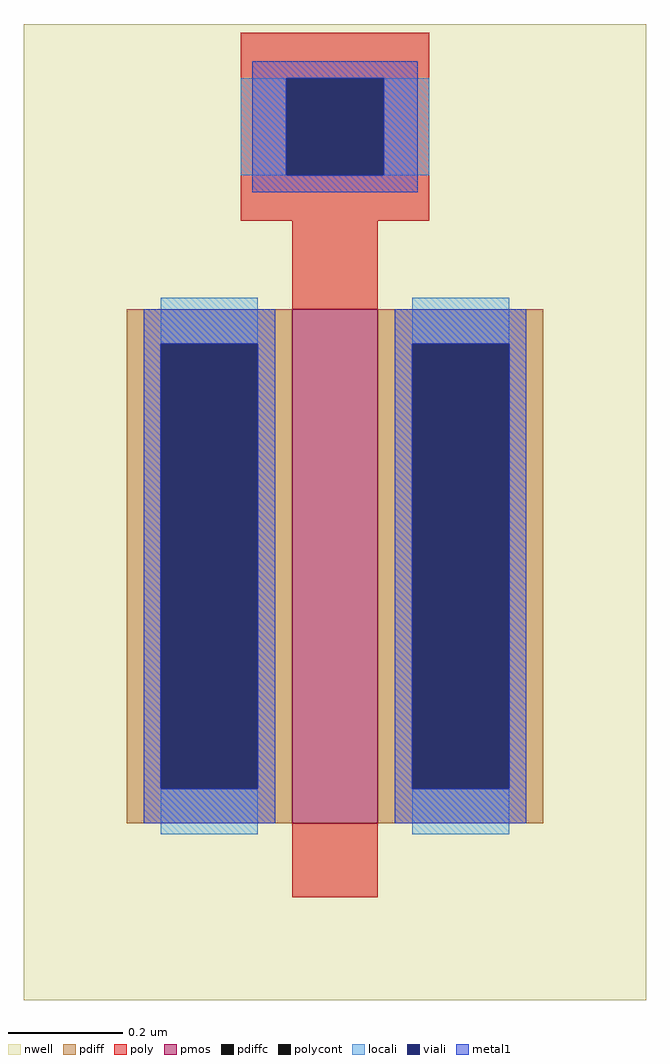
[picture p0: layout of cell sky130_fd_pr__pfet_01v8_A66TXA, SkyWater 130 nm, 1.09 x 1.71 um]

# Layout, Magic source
magic
tech sky130A
magscale 1 2
<< nwell >>
rect -109 -188 109 154
<< pmos >>
rect -15 -126 15 54
<< pdiff >>
rect -73 42 -15 54
rect -73 -114 -61 42
rect -27 -114 -15 42
rect -73 -126 -15 -114
rect 15 42 73 54
rect 15 -114 27 42
rect 61 -114 73 42
rect 15 -126 73 -114
<< pdiffc >>
rect -61 -114 -27 42
rect 27 -114 61 42
<< poly >>
rect -33 135 33 151
rect -33 101 -17 135
rect 17 101 33 135
rect -33 85 33 101
rect -15 54 15 85
rect -15 -152 15 -126
<< polycont >>
rect -17 101 17 135
<< locali >>
rect -33 101 -17 135
rect 17 101 33 135
rect -61 42 -27 58
rect -61 -130 -27 -114
rect 27 42 61 58
rect 27 -130 61 -114
<< viali >>
rect -17 101 17 135
rect -61 -114 -27 42
rect 27 -114 61 42
<< metal1 >>
rect -29 135 29 141
rect -29 101 -17 135
rect 17 101 29 135
rect -29 95 29 101
rect -67 42 -21 54
rect -67 -114 -61 42
rect -27 -114 -21 42
rect -67 -126 -21 -114
rect 21 42 67 54
rect 21 -114 27 42
rect 61 -114 67 42
rect 21 -126 67 -114
<< properties >>
string gencell sky130_fd_pr__pfet_01v8
string parameters w 0.9 l 0.15 m 1 nf 1 diffcov 100 polycov 100 guard 0 glc 0 grc 0 gtc 0 gbc 0 tbcov 100 rlcov 100 topc 1 botc 0 poverlap 0 doverlap 0 lmin 0.15 wmin 0.42 compatible {sky130_fd_pr__pfet_01v8  sky130_fd_pr__pfet_01v8_lvt sky130_fd_pr__pfet_01v8_hvt  sky130_fd_pr__pfet_g5v0d10v5} full_metal 0 viasrc 100 viadrn 100 viagate 100 viagb 0 viagr 0 viagl 0 viagt 0
string library sky130
<< end >>
